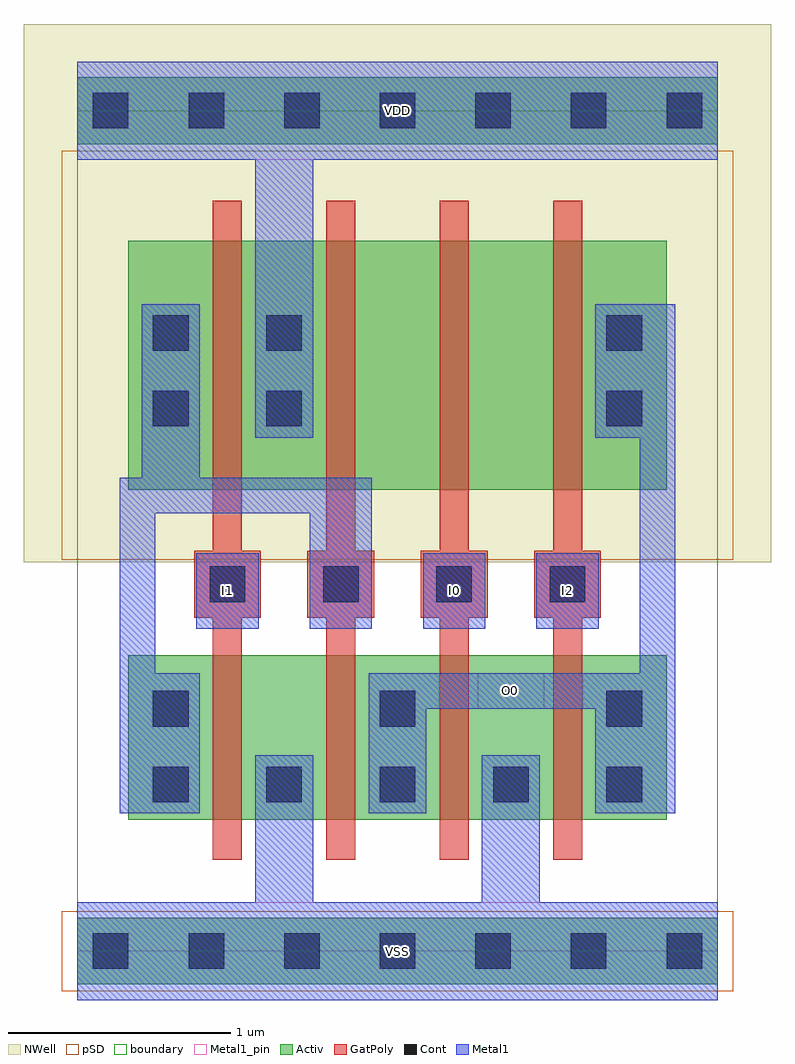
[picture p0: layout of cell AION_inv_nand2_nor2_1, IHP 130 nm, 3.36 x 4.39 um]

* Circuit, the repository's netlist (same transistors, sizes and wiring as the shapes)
* NGSPICE file created from AION_inv_nand2_nor2_1.ext - technology: ihp-sg13g2

.subckt AION_inv_nand2_nor2_1 I1 I0 I2 O0 VDD VSS
X0 VSS I1 a_46_118# VSS sg13_lv_nmos ad=0.1406p pd=1.12u as=0.2812p ps=2.24u w=0.74u l=0.13u
X1 O0 a_46_118# VSS VSS sg13_lv_nmos ad=0.1406p pd=1.12u as=0.1406p ps=1.12u w=0.74u l=0.13u
X2 VDD I1 a_46_118# VDD sg13_lv_pmos ad=0.2128p pd=1.5u as=0.4256p ps=3u w=1.12u l=0.13u
X3 VSS I0 O0 VSS sg13_lv_nmos ad=0.1406p pd=1.12u as=0.1406p ps=1.12u w=0.74u l=0.13u
X4 a_250_415# a_46_118# VDD VDD sg13_lv_pmos ad=0.2128p pd=1.5u as=0.2128p ps=1.5u w=1.12u l=0.13u
X5 O0 I2 VSS VSS sg13_lv_nmos ad=0.2812p pd=2.24u as=0.1406p ps=1.12u w=0.74u l=0.13u
X6 a_352_415# I0 a_250_415# VDD sg13_lv_pmos ad=0.2128p pd=1.5u as=0.2128p ps=1.5u w=1.12u l=0.13u
X7 O0 I2 a_352_415# VDD sg13_lv_pmos ad=0.4256p pd=3u as=0.2128p ps=1.5u w=1.12u l=0.13u
.ends

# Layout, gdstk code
import gdstk
lib = gdstk.Library(unit=1e-6, precision=1e-09)
def R(c, l, rs):  # rectangles x0, y0, x1, y1
    for r in rs: c.add(gdstk.rectangle(r[:2], r[2:], *l))
def A(c, l, x, y, w, h, nx, ny, dx, dy):  # array of equal rectangles
    R(c, l, [(x+i*dx, y+j*dy, x+i*dx+w, y+j*dy+h) for i in range(nx) for j in range(ny)])
Activ = (1, 0)
GatPoly = (5, 0)
Cont = (6, 0)
Metal1 = (8, 0)
Metal1_pin = (8, 2)
pSD = (14, 0)
NWell = (31, 0)
boundary = (189, 4)

aion_inv_nand2_nor2_1 = lib.new_cell('AION_inv_nand2_nor2_1')
R(aion_inv_nand2_nor2_1, Activ, [(0,-0.15,2.88,0.15), (0.23,0.59,2.65,1.33), (0.23,2.075,2.65,3.195), (0,3.63,2.88,3.93)])
A(aion_inv_nand2_nor2_1, GatPoly, 0.61, 0.41, 0.13, 2.965, 4, 1, 0.51, 0)
A(aion_inv_nand2_nor2_1, GatPoly, 0.525, 1.5, 0.3, 0.3, 4, 1, 0.51, 0)
A(aion_inv_nand2_nor2_1, Cont, 0.07, -0.08, 0.16, 0.16, 7, 2, 0.43, 3.78)
A(aion_inv_nand2_nor2_1, Cont, 0.34, 0.67, 0.16, 0.16, 5, 1, 0.51, 0)
A(aion_inv_nand2_nor2_1, Cont, 0.34, 1.01, 0.16, 0.16, 3, 1, 1.02, 0)
A(aion_inv_nand2_nor2_1, Cont, 0.595, 1.57, 0.16, 0.16, 4, 1, 0.51, 0)
R(aion_inv_nand2_nor2_1, Cont, [(0.34,2.36,0.5,2.52), (0.85,2.36,1.01,2.52), (2.38,2.36,2.54,2.52), (0.34,2.7,0.5,2.86), (0.85,2.7,1.01,2.86), (2.38,2.7,2.54,2.86)])
R(aion_inv_nand2_nor2_1, Metal1, [(0,-0.22,2.88,0.22), (0.8,0.22,1.06,0.88), (1.82,0.22,2.08,0.88), (0.19,0.62,0.55,1.25), (1.31,0.62,1.57,1.25), (2.33,0.62,2.69,1.25), (1.31,1.09,2.69,1.25), (0.19,1.25,0.35,1.97), (2.53,1.25,2.69,2.31), (0.535,1.45,0.815,1.79), (1.045,1.45,1.325,2.13), (1.555,1.45,1.835,1.79), (2.065,1.45,2.345,1.79), (0.19,1.97,1.325,2.13), (0.29,1.97,0.55,2.91), (0.8,2.31,1.06,3.56), (2.33,2.31,2.69,2.91), (0,3.56,2.88,4)])
R(aion_inv_nand2_nor2_1, Metal1_pin, [(0,-0.22,2.88,0.22), (1.8,1.09,2.1,1.25), (0.535,1.45,0.815,1.79), (1.555,1.45,1.835,1.79), (2.065,1.45,2.345,1.79), (0,3.56,2.88,4)])
R(aion_inv_nand2_nor2_1, pSD, [(-0.07,-0.18,2.95,0.18), (-0.07,1.76,2.95,3.6)])
R(aion_inv_nand2_nor2_1, NWell, [(-0.24,1.75,3.12,4.17)])
R(aion_inv_nand2_nor2_1, boundary, [(0,0,2.88,3.78)])
aion_inv_nand2_nor2_1.add(gdstk.Label('I1', (0.675,1.62), layer=8, texttype=25))
aion_inv_nand2_nor2_1.add(gdstk.Label('I0', (1.695,1.62), layer=8, texttype=25))
aion_inv_nand2_nor2_1.add(gdstk.Label('I2', (2.205,1.62), layer=8, texttype=25))
aion_inv_nand2_nor2_1.add(gdstk.Label('O0', (1.95,1.17), layer=8, texttype=25))
aion_inv_nand2_nor2_1.add(gdstk.Label('VDD', (1.44,3.78), layer=8, texttype=25))
aion_inv_nand2_nor2_1.add(gdstk.Label('VSS', (1.44,0), layer=8, texttype=25))
aion_inv_nand2_nor2_1.add(gdstk.Label('I1', (0.675,1.62), layer=8, texttype=2))
aion_inv_nand2_nor2_1.add(gdstk.Label('I0', (1.695,1.62), layer=8, texttype=2))
aion_inv_nand2_nor2_1.add(gdstk.Label('I2', (2.205,1.62), layer=8, texttype=2))
aion_inv_nand2_nor2_1.add(gdstk.Label('O0', (1.95,1.17), layer=8, texttype=2))
aion_inv_nand2_nor2_1.add(gdstk.Label('VDD', (1.44,3.78), layer=8, texttype=2))
aion_inv_nand2_nor2_1.add(gdstk.Label('VSS', (1.44,0), layer=8, texttype=2))

lib.write_gds('AION_inv_nand2_nor2_1.gds')
